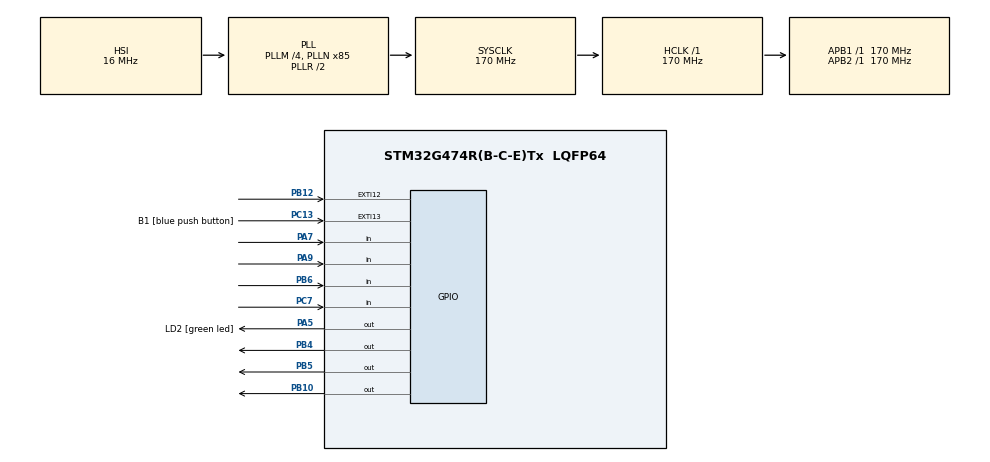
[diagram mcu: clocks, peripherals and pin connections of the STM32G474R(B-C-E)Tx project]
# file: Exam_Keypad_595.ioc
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Mcu.Family=STM32G4
Mcu.Name=STM32G474R(B-C-E)Tx
Mcu.Package=LQFP64
NVIC.EXTI15_10_IRQn=true\:0\:0\:false\:false\:true\:true\:true\:true
NVIC.PriorityGroup=NVIC_PRIORITYGROUP_4
PA13.GPIO_Label=T_SWDIO
PA13.Signal=SYS_JTMS-SWDIO
PA14.GPIO_Label=T_SWCLK
PA14.Signal=SYS_JTCK-SWCLK
PA2.GPIO_Label=LPUART1_TX [STLINKV3E_VCP_RX]
PA2.Signal=LPUART1_TX
PA3.GPIO_Label=LPUART1_RX [STLINKV3E_VCP_TX]
PA3.Signal=LPUART1_RX
PA5.GPIO_Label=LD2 [green led]
PA5.Signal=GPIO_Output
PA7.GPIO_PuPd=GPIO_PULLUP
PA7.Signal=GPIO_Input
PA9.GPIO_PuPd=GPIO_PULLUP
PA9.Signal=GPIO_Input
PB10.GPIO_ModeDefaultOutputPP=GPIO_MODE_OUTPUT_OD
PB10.GPIO_PuPd=GPIO_NOPULL
PB10.PinState=GPIO_PIN_SET
PB10.Signal=GPIO_Output
PB12.Signal=GPXTI12
PB3.GPIO_Label=T_SWO
PB3.Signal=SYS_JTDO-SWO
PB4.GPIO_ModeDefaultOutputPP=GPIO_MODE_OUTPUT_OD
PB4.GPIO_PuPd=GPIO_NOPULL
PB4.PinState=GPIO_PIN_SET
PB4.Signal=GPIO_Output
PB5.GPIO_ModeDefaultOutputPP=GPIO_MODE_OUTPUT_OD
PB5.GPIO_PuPd=GPIO_NOPULL
PB5.PinState=GPIO_PIN_SET
PB5.Signal=GPIO_Output
PB6.GPIO_PuPd=GPIO_PULLUP
PB6.Signal=GPIO_Input
PC13.GPIO_Label=B1 [blue push button]
PC13.Signal=GPXTI13
PC14-OSC32_IN.GPIO_Label=RCC_OSC32_IN
PC14-OSC32_IN.Signal=RCC_OSC32_IN
PC15-OSC32_OUT.GPIO_Label=RCC_OSC32_OUT
PC15-OSC32_OUT.Signal=RCC_OSC32_OUT
PC7.GPIO_PuPd=GPIO_PULLUP
PC7.Signal=GPIO_Input
PF0-OSC_IN.GPIO_Label=RCC_OSC_IN
PF0-OSC_IN.Signal=RCC_OSC_IN
PF1-OSC_OUT.GPIO_Label=RCC_OSC_OUT
PF1-OSC_OUT.Signal=RCC_OSC_OUT
ProjectManager.HeapSize=0x200
ProjectManager.StackSize=0x400
ProjectManager.TargetToolchain=STM32CubeIDE
RCC.ADC12Freq_Value=170000000
RCC.ADC345Freq_Value=170000000
RCC.AHBFreq_Value=170000000
RCC.APB1Freq_Value=170000000
RCC.APB1TimFreq_Value=170000000
RCC.APB2Freq_Value=170000000
RCC.APB2TimFreq_Value=170000000
RCC.CortexFreq_Value=170000000
RCC.EXTERNAL_CLOCK_VALUE=12288000
RCC.HCLKFreq_Value=170000000
RCC.HSE_VALUE=24000000
RCC.HSI48_VALUE=48000000
RCC.HSI_VALUE=16000000
RCC.LSE_VALUE=32768
RCC.PLLM=RCC_PLLM_DIV4
RCC.PLLN=85
RCC.RTCClockSelection=RCC_RTCCLKSOURCE_LSE
RCC.SYSCLKFreq_VALUE=170000000
RCC.SYSCLKSource=RCC_SYSCLKSOURCE_PLLCLK
RCC.USBFreq_Value=170000000
RCC.VCOOutputFreq_Value=340000000
VP_SYS_VS_DBSignals.Mode=DisableDeadBatterySignals
board=NUCLEO-G474RE

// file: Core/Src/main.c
/* USER CODE BEGIN Header */
/**
  ******************************************************************************
  * @file           : main.c
  * @brief          : Main program body
  ******************************************************************************
  * @attention
  *
  * Copyright (c) 2026 STMicroelectronics.
  * All rights reserved.
  *
  * This software is licensed under terms that can be found in the LICENSE file
  * in the root directory of this software component.
  * If no LICENSE file comes with this software, it is provided AS-IS.
  *
  ******************************************************************************
  */
/* USER CODE END Header */
#include "main.h"

/* USER CODE BEGIN Includes */
#include <stdio.h>
/* USER CODE END Includes */

/* USER CODE BEGIN PV */
	char keypad_map[4][3] = {
		{'1', '2', '3'},
		{'4', '5', '6'},
		{'7', '8', '9'},
		{'*', '0', '#'}
	};

	GPIO_TypeDef* R_Ports[] = {GPIOA, GPIOC, GPIOB, GPIOA};
	uint16_t R_Pins[] = {GPIO_PIN_9, GPIO_PIN_7, GPIO_PIN_6, GPIO_PIN_7};

	GPIO_TypeDef* C_Ports[] = {GPIOB, GPIOB, GPIOB};
	uint16_t C_Pins[] = {GPIO_PIN_5, GPIO_PIN_4, GPIO_PIN_10};
	char global_key = 0;
/* USER CODE END PV */

void SystemClock_Config(void);
static void MX_GPIO_Init(void);
/* USER CODE BEGIN PFP */
char Keypad_Scan(void);
/* USER CODE END PFP */

int main(void)
{

  /* MCU Configuration--------------------------------------------------------*/

  /* Reset of all peripherals, Initializes the Flash interface and the Systick. */
  HAL_Init();

  /* Configure the system clock */
  SystemClock_Config();

  /* Initialize all configured peripherals */
  MX_GPIO_Init();

  /* Infinite loop */
  while (1)
  {

    /* USER CODE BEGIN 3 */
	  global_key = Keypad_Scan();

	  	  if (global_key != 0) {
	  		  printf("Key Pressed: %c\r\n", global_key); // ปริ้นค่าออกมาดู

	  		  // Logic ควบคุมไฟ
	  		  if(global_key == '1') HAL_GPIO_WritePin(GPIOA, GPIO_PIN_5, GPIO_PIN_SET);
	  		  if(global_key == '2') HAL_GPIO_WritePin(GPIOA, GPIO_PIN_5, GPIO_PIN_RESET);
	  	  }
	  }
  /* USER CODE END 3 */
}

void SystemClock_Config(void)
{
  RCC_OscInitTypeDef RCC_OscInitStruct = {0};
  RCC_ClkInitTypeDef RCC_ClkInitStruct = {0};

  /** Configure the main internal regulator output voltage
  */
  HAL_PWREx_ControlVoltageScaling(PWR_REGULATOR_VOLTAGE_SCALE1_BOOST);

  /** Initializes the RCC Oscillators according to the specified parameters
  * in the RCC_OscInitTypeDef structure.
  */
  RCC_OscInitStruct.OscillatorType = RCC_OSCILLATORTYPE_HSI;
  RCC_OscInitStruct.HSIState = RCC_HSI_ON;
  RCC_OscInitStruct.HSICalibrationValue = RCC_HSICALIBRATION_DEFAULT;
  RCC_OscInitStruct.PLL.PLLState = RCC_PLL_ON;
  RCC_OscInitStruct.PLL.PLLSource = RCC_PLLSOURCE_HSI;
  RCC_OscInitStruct.PLL.PLLM = RCC_PLLM_DIV4;
  RCC_OscInitStruct.PLL.PLLN = 85;
  RCC_OscInitStruct.PLL.PLLP = RCC_PLLP_DIV2;
  RCC_OscInitStruct.PLL.PLLQ = RCC_PLLQ_DIV2;
  RCC_OscInitStruct.PLL.PLLR = RCC_PLLR_DIV2;
  if (HAL_RCC_OscConfig(&RCC_OscInitStruct) != HAL_OK)
  {
    Error_Handler();
  }

  /** Initializes the CPU, AHB and APB buses clocks
  */
  RCC_ClkInitStruct.ClockType = RCC_CLOCKTYPE_HCLK|RCC_CLOCKTYPE_SYSCLK
                              |RCC_CLOCKTYPE_PCLK1|RCC_CLOCKTYPE_PCLK2;
  RCC_ClkInitStruct.SYSCLKSource = RCC_SYSCLKSOURCE_PLLCLK;
  RCC_ClkInitStruct.AHBCLKDivider = RCC_SYSCLK_DIV1;
  RCC_ClkInitStruct.APB1CLKDivider = RCC_HCLK_DIV1;
  RCC_ClkInitStruct.APB2CLKDivider = RCC_HCLK_DIV1;

  if (HAL_RCC_ClockConfig(&RCC_ClkInitStruct, FLASH_LATENCY_4) != HAL_OK)
  {
    Error_Handler();
  }
}

static void MX_GPIO_Init(void)
{
  GPIO_InitTypeDef GPIO_InitStruct = {0};

  /* GPIO Ports Clock Enable */
  __HAL_RCC_GPIOC_CLK_ENABLE();
  __HAL_RCC_GPIOF_CLK_ENABLE();
  __HAL_RCC_GPIOA_CLK_ENABLE();
  __HAL_RCC_GPIOB_CLK_ENABLE();

  /*Configure GPIO pin Output Level */
  HAL_GPIO_WritePin(LD2_GPIO_Port, LD2_Pin, GPIO_PIN_RESET);

  /*Configure GPIO pin Output Level */
  HAL_GPIO_WritePin(GPIOB, GPIO_PIN_10|GPIO_PIN_4|GPIO_PIN_5, GPIO_PIN_SET);

  /*Configure GPIO pin : B1_Pin */
  GPIO_InitStruct.Pin = B1_Pin;
  GPIO_InitStruct.Mode = GPIO_MODE_IT_RISING;
  GPIO_InitStruct.Pull = GPIO_NOPULL;
  HAL_GPIO_Init(B1_GPIO_Port, &GPIO_InitStruct);

  /*Configure GPIO pins : LPUART1_TX_Pin LPUART1_RX_Pin */
  GPIO_InitStruct.Pin = LPUART1_TX_Pin|LPUART1_RX_Pin;
  GPIO_InitStruct.Mode = GPIO_MODE_AF_PP;
  GPIO_InitStruct.Pull = GPIO_NOPULL;
  GPIO_InitStruct.Speed = GPIO_SPEED_FREQ_LOW;
  GPIO_InitStruct.Alternate = GPIO_AF12_LPUART1;
  HAL_GPIO_Init(GPIOA, &GPIO_InitStruct);

  /*Configure GPIO pin : LD2_Pin */
  GPIO_InitStruct.Pin = LD2_Pin;
  GPIO_InitStruct.Mode = GPIO_MODE_OUTPUT_PP;
  GPIO_InitStruct.Pull = GPIO_NOPULL;
  GPIO_InitStruct.Speed = GPIO_SPEED_FREQ_LOW;
  HAL_GPIO_Init(LD2_GPIO_Port, &GPIO_InitStruct);

  /*Configure GPIO pins : PA7 PA9 */
  GPIO_InitStruct.Pin = GPIO_PIN_7|GPIO_PIN_9;
  GPIO_InitStruct.Mode = GPIO_MODE_INPUT;
  GPIO_InitStruct.Pull = GPIO_PULLUP;
  HAL_GPIO_Init(GPIOA, &GPIO_InitStruct);

  /*Configure GPIO pins : PB10 PB4 PB5 */
  GPIO_InitStruct.Pin = GPIO_PIN_10|GPIO_PIN_4|GPIO_PIN_5;
  GPIO_InitStruct.Mode = GPIO_MODE_OUTPUT_OD;
  GPIO_InitStruct.Pull = GPIO_NOPULL;
  GPIO_InitStruct.Speed = GPIO_SPEED_FREQ_LOW;
  HAL_GPIO_Init(GPIOB, &GPIO_InitStruct);

  /*Configure GPIO pin : PB12 */
  GPIO_InitStruct.Pin = GPIO_PIN_12;
  GPIO_InitStruct.Mode = GPIO_MODE_IT_RISING;
  GPIO_InitStruct.Pull = GPIO_NOPULL;
  HAL_GPIO_Init(GPIOB, &GPIO_InitStruct);

  /*Configure GPIO pin : PC7 */
  GPIO_InitStruct.Pin = GPIO_PIN_7;
  GPIO_InitStruct.Mode = GPIO_MODE_INPUT;
  GPIO_InitStruct.Pull = GPIO_PULLUP;
  HAL_GPIO_Init(GPIOC, &GPIO_InitStruct);

  /*Configure GPIO pin : PB6 */
  GPIO_InitStruct.Pin = GPIO_PIN_6;
  GPIO_InitStruct.Mode = GPIO_MODE_INPUT;
  GPIO_InitStruct.Pull = GPIO_PULLUP;
  HAL_GPIO_Init(GPIOB, &GPIO_InitStruct);

  /* EXTI interrupt init*/
  HAL_NVIC_SetPriority(EXTI15_10_IRQn, 0, 0);
  HAL_NVIC_EnableIRQ(EXTI15_10_IRQn);

}

/* USER CODE BEGIN 4 */
char Keypad_Scan(void) {
    for (int c = 0; c < 3; c++) {
        // 1. ส่ง 0 ออกไปที่หลักปัจจุบัน
        HAL_GPIO_WritePin(C_Ports[c], C_Pins[c], GPIO_PIN_RESET);

        // [TRICK 1] รอแป๊บนึงให้สัญญาณไฟฟ้าเดินทาง (สำคัญมาก!)
        // ถ้าไม่มีบรรทัดนี้ บางทีมันอ่านไม่ทัน
        HAL_Delay(2);

        for (int r = 0; r < 4; r++) {
            // 2. ถ้าอ่านแถวได้ 0 (เจอปุ่มโดนกด)
            if (HAL_GPIO_ReadPin(R_Ports[r], R_Pins[r]) == GPIO_PIN_RESET) {

                // [TRICK 2] เช็คซ้ำอีกทีเพื่อความชัวร์ (Double Check)
                HAL_Delay(20); // รอ debounce
                if (HAL_GPIO_ReadPin(R_Ports[r], R_Pins[r]) == GPIO_PIN_RESET) {

                    // ถ้ายังกดอยู่จริง ให้รอจนกว่าจะปล่อยมือ
                    while(HAL_GPIO_ReadPin(R_Ports[r], R_Pins[r]) == GPIO_PIN_RESET) {
                        HAL_Delay(10); // รอเช็คทุกๆ 10ms เพื่อไม่ให้ CPU ทำงานหนักเกิน
                    }

                    // คืนค่า 1 ให้หลักนี้ก่อนส่งค่ากลับ
                    HAL_GPIO_WritePin(C_Ports[c], C_Pins[c], GPIO_PIN_SET);
                    return keypad_map[r][c];
                }
            }
        }
        // 3. คืนค่า 1 ให้หลักนี้ก่อนไปหลักถัดไป
        HAL_GPIO_WritePin(C_Ports[c], C_Pins[c], GPIO_PIN_SET);
    }
    return 0; // ไม่มีปุ่มกด
}
/* USER CODE END 4 */

void Error_Handler(void)
{
  __disable_irq();
  while (1)
  {
  }
}
